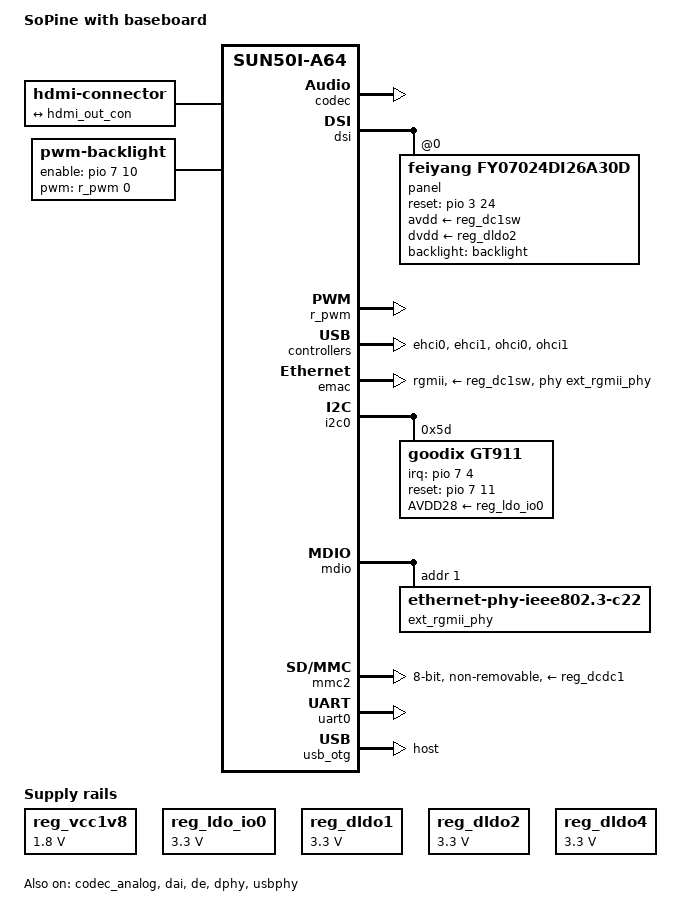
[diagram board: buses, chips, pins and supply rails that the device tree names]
/*
 * Copyright (c) 2017 Icenowy Zheng <icenowy@aosc.xyz>
 *
 * Based on sun50i-a64-pine64.dts, which is:
 *   Copyright (c) 2016 ARM Ltd.
 *
 * This file is dual-licensed: you can use it either under the terms
 * of the GPL or the X11 license, at your option. Note that this dual
 * licensing only applies to this file, and not this project as a
 * whole.
 *
 *  a) This library is free software; you can redistribute it and/or
 *     modify it under the terms of the GNU General Public License as
 *     published by the Free Software Foundation; either version 2 of the
 *     License, or (at your option) any later version.
 *
 *     This library is distributed in the hope that it will be useful,
 *     but WITHOUT ANY WARRANTY; without even the implied warranty of
 *     MERCHANTABILITY or FITNESS FOR A PARTICULAR PURPOSE.  See the
 *     GNU General Public License for more details.
 *
 * Or, alternatively,
 *
 *  b) Permission is hereby granted, free of charge, to any person
 *     obtaining a copy of this software and associated documentation
 *     files (the "Software"), to deal in the Software without
 *     restriction, including without limitation the rights to use,
 *     copy, modify, merge, publish, distribute, sublicense, and/or
 *     sell copies of the Software, and to permit persons to whom the
 *     Software is furnished to do so, subject to the following
 *     conditions:
 *
 *     The above copyright notice and this permission notice shall be
 *     included in all copies or substantial portions of the Software.
 *
 *     THE SOFTWARE IS PROVIDED "AS IS", WITHOUT WARRANTY OF ANY KIND,
 *     EXPRESS OR IMPLIED, INCLUDING BUT NOT LIMITED TO THE WARRANTIES
 *     OF MERCHANTABILITY, FITNESS FOR A PARTICULAR PURPOSE AND
 *     NONINFRINGEMENT. IN NO EVENT SHALL THE AUTHORS OR COPYRIGHT
 *     HOLDERS BE LIABLE FOR ANY CLAIM, DAMAGES OR OTHER LIABILITY,
 *     WHETHER IN AN ACTION OF CONTRACT, TORT OR OTHERWISE, ARISING
 *     FROM, OUT OF OR IN CONNECTION WITH THE SOFTWARE OR THE USE OR
 *     OTHER DEALINGS IN THE SOFTWARE.
 */

/dts-v1/;

#include "sun50i-a64-sopine.dtsi"
#include <dt-bindings/pwm/pwm.h>

/ {
	model = "SoPine with baseboard";
	compatible = "pine64,sopine-baseboard", "pine64,sopine",
		     "allwinner,sun50i-a64";

	aliases {
		ethernet0 = &emac;
		serial0 = &uart0;
	};

	chosen {
		stdout-path = "serial0:115200n8";
	};

	hdmi-connector {
		compatible = "hdmi-connector";
		type = "a";

		port {
			hdmi_con_in: endpoint {
				remote-endpoint = <&hdmi_out_con>;
			};
		};
	};

	reg_vcc1v8: vcc1v8 {
		compatible = "regulator-fixed";
		regulator-name = "vcc1v8";
		regulator-min-microvolt = <1800000>;
		regulator-max-microvolt = <1800000>;
	};

	backlight: backlight {
		compatible = "pwm-backlight";
		pwms = <&r_pwm 0 50000 PWM_POLARITY_INVERTED>;
		brightness-levels = <1 2 4 8 16 32 64 128 512>;
		default-brightness-level = <8>;
		enable-gpios = <&pio 7 10 GPIO_ACTIVE_HIGH>; /* LCD-BL-EN: PH10 */
	};
};

&ac_power_supply {
	status = "okay";
};

&battery_power_supply {
	status = "okay";
};

&codec {
	status = "okay";
};

&codec_analog {
	status = "okay";
};

&dai {
	status = "okay";
};

&de {
	status = "okay";
};

&dphy {
	status = "okay";
};


&dsi {
	vcc-dsi-supply = <&reg_dldo1>;		/* VCC3V3-DSI */
	#address-cells = <1>;
	#size-cells = <0>;
	status = "okay";

	panel@0 {
		compatible = "feiyang,fy07024di26a30d";
		reg = <0>;
		avdd-supply = <&reg_dc1sw>;	/* VCC-LCD */
		dvdd-supply = <&reg_dldo2>;	/* VCC-MIPI */
		reset-gpios = <&pio 3 24 GPIO_ACTIVE_HIGH>; /* LCD-RST: PD24 */
		backlight = <&backlight>;
	};
};

&r_pwm {
	pinctrl-names = "default";
	pinctrl-0 = <&r_pwm_pin>;
	status = "okay";
};

&ehci0 {
	status = "okay";
};

&ehci1 {
	status = "okay";
};

&emac {
	pinctrl-names = "default";
	pinctrl-0 = <&rgmii_pins>;
	phy-mode = "rgmii";
	phy-handle = <&ext_rgmii_phy>;
	phy-supply = <&reg_dc1sw>;
	status = "okay";
};

&hdmi {
	hvcc-supply = <&reg_dldo1>;
	status = "disabled";
};

&hdmi_out {
	hdmi_out_con: endpoint {
		remote-endpoint = <&hdmi_con_in>;
	};
};

&reg_ldo_io0 {
	regulator-min-microvolt = <3300000>;
	regulator-max-microvolt = <3300000>;
	regulator-name = "vcc-ctp";
	status = "okay";
};

&i2c0 {
    pinctrl-names = "default";
    pinctrl-0 = <&i2c0_pins>;
    status = "okay";

    gt911@5d {
        compatible = "goodix,gt911";
        reg = <0x5d>;
		AVDD28-supply = <&reg_ldo_io0>;			/* VCC-CTP: GPIO0-LDO */
        /*pinctrl-names = "default";
        pinctrl-0 = <&gt911_irq_pin>, <&gt911_reset_pin>;*/
		interrupt-parent = <&pio>;
		interrupts = <7 4 IRQ_TYPE_EDGE_FALLING>;
        irq-gpios = <&pio 7 4 GPIO_ACTIVE_HIGH>;
        reset-gpios = <&pio 7 11 GPIO_ACTIVE_HIGH>;
    };

};

&mdio {
	ext_rgmii_phy: ethernet-phy@1 {
		compatible = "ethernet-phy-ieee802.3-c22";
		reg = <1>;
	};
};

&mmc2 {
	pinctrl-names = "default";
	pinctrl-0 = <&mmc2_pins>;
	vmmc-supply = <&reg_dcdc1>;
	vqmmc-supply = <&reg_vcc1v8>;
	bus-width = <8>;
	non-removable;
	cap-mmc-hw-reset;
	status = "okay";
};

&ohci0 {
	status = "okay";
};

&ohci1 {
	status = "okay";
};

&reg_dc1sw {
	regulator-name = "vcc-phy";
};

&reg_dldo1 {
	regulator-min-microvolt = <3300000>;
	regulator-max-microvolt = <3300000>;
	regulator-name = "vcc-hdmi";
};

&reg_dldo2 {
	regulator-min-microvolt = <3300000>;
	regulator-max-microvolt = <3300000>;
	regulator-name = "vcc-mipi";
};

&reg_dldo4 {
	regulator-min-microvolt = <3300000>;
	regulator-max-microvolt = <3300000>;
	regulator-name = "vcc-wifi";
};

&simplefb_hdmi {
	vcc-hdmi-supply = <&reg_dldo1>;
};

&sound {
	simple-audio-card,aux-devs = <&codec_analog>;
	simple-audio-card,widgets = "Microphone", "Microphone Jack",
				    "Headphone", "Headphone Jack";
	simple-audio-card,routing =
			"Left DAC", "AIF1 Slot 0 Left",
			"Right DAC", "AIF1 Slot 0 Right",
			"Headphone Jack", "HP",
			"AIF1 Slot 0 Left ADC", "Left ADC",
			"AIF1 Slot 0 Right ADC", "Right ADC",
			"MIC2", "Microphone Jack";
	status = "okay";
};

&uart0 {
	pinctrl-names = "default";
	pinctrl-0 = <&uart0_pb_pins>;
	status = "okay";
};

&usb_otg {
	dr_mode = "host";
	status = "okay";
};

&usbphy {
	status = "okay";
};

&tcon1 {
	status = "disabled";
};

&hdmi_phy {
	status = "disabled";
};
